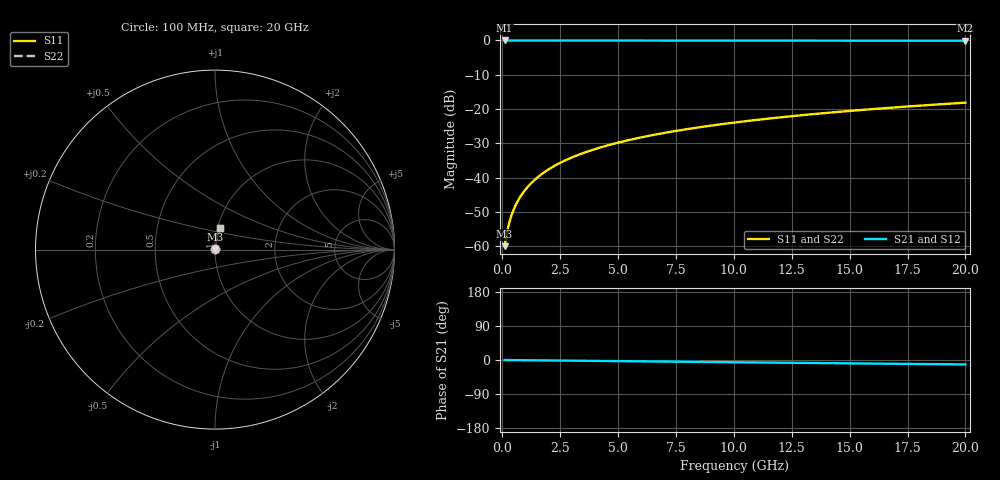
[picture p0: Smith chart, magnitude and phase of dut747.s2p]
! Touchstone file exported from HFSS 2026.1.0
!  File:  C:/ffzhzh/LocalFiles/Ansys_Project_Files/temp_train_TMRDL_747_1783155205_55132.aedt
!  Generated:  04:54:34 PM Jul  4, 2026
!  Design:  TMRDL
!  Project:  temp_train_TMRDL_747_1783155205_55132
! Variables:
!  h_bsmrdl = 2um
!  h_ox = 20um
!  h_rdl = 5um
!  h_sub = 80um
!  h_tmrdl = 5.43um
!  h_tsv = 80um
!  h_via = 3um
!  l_bsmrdl = 300um
!  l_sub = 540.15um
!  l_tmrdl = 140.15um
!  m_sub = 200um
!  pitch = 40.55um
!  r_tsv = 6um
!  s_tmrdl = 10um
!  w_bsmrdl = 18um
!  w_sub = 500um
!  w_tmrdl = 15.31um
!  x_tsv_center1 = 147.805um
!  x_tsv_center2 = 465.805um
!  x_tsv_center3 = 621.265um
!  x_tsv_center4 = 939.265um
!  x_tsv_center5 = 1094.725um
!  x_tsv_center6 = 1412.725um
# GHz S MA R 50.000000
! Terminal data exported
! Port[1] = TM_RDL1_1_T1
! Port[2] = TM_RDL1_1_T2
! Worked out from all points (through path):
!   200 points, 100 MHz to 20 GHz, reference 50 ohm
!   highest |S21| = -0.01 dB at 100 MHz (marker M1); lowest = -0.1 dB at 20 GHz (marker M2)
!   group delay of S21, straight-line fit = 1.62 ps
!   lowest |S11| = -60.0 dB at 100 MHz (marker M3), VSWR 1.00, Z = 50.1 + j0.07 ohm
!   |S11| at or under -10 dB: start of sweep to end of sweep
!   |S22| runs from -60.0 to -18.2 dB; largest |S21 - S12| = 2e-15
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0.1  0.001 44.3  0.9993 -0.1  0.9993 -0.1  0.001 44.3
! Gamma 0 0 0 0
! Port Impedance 50 0 50 0
0.2  0.001572 61.7  0.9993 -0.1  0.9993 -0.1  0.001572 61.7
0.3  0.002198 69.3  0.9992 -0.2  0.9992 -0.2  0.002198 69.3
0.4  0.002835 73.4  0.9992 -0.2  0.9992 -0.2  0.002835 73.4
0.5  0.003474 76.0  0.9992 -0.3  0.9992 -0.3  0.003474 76.0
0.6  0.004115 77.8  0.9991 -0.4  0.9991 -0.4  0.004115 77.8
0.8  0.005403 80.2  0.9991 -0.5  0.9991 -0.5  0.005403 80.2
1.1  0.007343 82.2  0.999 -0.7  0.999 -0.7  0.007343 82.2
1.5  0.009938 83.5  0.999 -0.9  0.999 -0.9  0.009938 83.5
1.8  0.01189 84.0  0.9989 -1.1  0.9989 -1.1  0.01189 84.0
2.1  0.01383 84.3  0.9988 -1.3  0.9988 -1.3  0.01383 84.3
2.7  0.0177 84.5  0.9986 -1.6  0.9986 -1.6  0.0177 84.5
3.5  0.02283 84.5  0.9984 -2.1  0.9984 -2.1  0.02283 84.5
4.2  0.02729 84.3  0.9981 -2.5  0.9981 -2.5  0.02729 84.3
5  0.03234 84.0  0.9978 -3.0  0.9978 -3.0  0.03234 84.0
5.9  0.03798 83.6  0.9974 -3.5  0.9974 -3.5  0.03798 83.6
6.8  0.04359 83.2  0.997 -4.1  0.997 -4.1  0.04359 83.2
8.3  0.05288 82.6  0.9963 -4.9  0.9963 -4.9  0.05288 82.6
10.1  0.06395 81.7  0.9954 -6.0  0.9954 -6.0  0.06395 81.7
13.4  0.08409 80.1  0.9935 -7.9  0.9935 -7.9  0.08409 80.1
16.7  0.104 78.4  0.9913 -9.8  0.9913 -9.8  0.104 78.4
20  0.1237 76.6  0.9887 -11.7  0.9887 -11.7  0.1237 76.6
